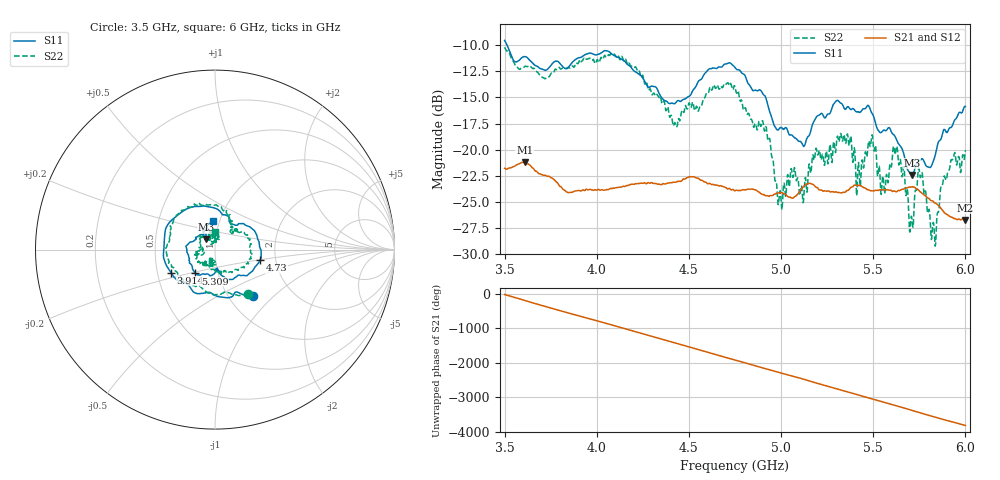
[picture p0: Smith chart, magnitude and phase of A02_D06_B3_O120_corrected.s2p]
! Created with skrf 1.9.0 (http://scikit-rf.org).
# Hz S RI R 50.0
!freq ReS11 ImS11 ReS21 ImS21 ReS12 ImS12 ReS22 ImS22
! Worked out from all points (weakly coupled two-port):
!   1601 points, 3.5 GHz to 6 GHz, reference 50 ohm
!   highest |S21| = -21.20 dB at 3.609 GHz (marker M1); lowest = -26.7 dB at 5.997 GHz (marker M2)
!   lowest |S11| = -22.4 dB at 5.711 GHz (marker M3), VSWR 1.16, Z = 44.9 + j5.12 ohm
!   |S11| at or under -10 dB: 3.514 GHz to end of sweep
!   |S22| runs from -29.2 to -10.2 dB; largest |S21 - S12| = 0.00096
!   S11 on the Smith chart (normalised r, x): 3.5 GHz: 1.28, -0.75; 3.914 GHz: 0.59, -0.16; 4.73 GHz: 1.65, -0.21; 5.309 GHz: 0.78, -0.21; 6 GHz: 0.93, +0.31
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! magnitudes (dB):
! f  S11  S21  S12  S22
! 3.5 GHz  -9.5  -21.8  -21.8  -10.2
! 3.609 GHz  -11.1  -21.2  -21.2  -12.0
! 3.914 GHz  -11.1  -23.9  -23.9  -11.5
! 3.917 GHz  -11.1  -23.9  -23.9  -11.5
! 4.334 GHz  -14.5  -23.3  -23.2  -14.9
! 4.425 GHz  -15.6  -23.1  -23.1  -17.4
! 4.73 GHz  -11.8  -23.8  -23.8  -13.8
! 4.75 GHz  -12.1  -23.9  -23.8  -14.0
! 4.911 GHz  -14.8  -24.4  -24.3  -18.2
! 4.994 GHz  -17.9  -24.1  -24.1  -24.0
! 5.167 GHz  -17.8  -23.3  -23.2  -21.2
! 5.309 GHz  -15.3  -24.1  -24.0  -18.9
! 5.419 GHz  -16.4  -23.4  -23.4  -21.3
! 5.486 GHz  -16.3  -23.9  -23.9  -19.6
! 5.584 GHz  -17.9  -23.9  -23.8  -22.6
! 5.622 GHz  -18.9  -24.0  -24.0  -20.2
! 5.711 GHz  -22.4  -23.5  -23.5  -26.8
! 5.755 GHz  -21.0  -24.0  -24.0  -22.6
! 5.828 GHz  -21.0  -25.0  -25.0  -27.1
! 5.878 GHz  -18.3  -25.8  -25.8  -23.1
! 5.997 GHz  -15.8  -26.7  -26.6  -20.6
! 6 GHz  -15.9  -26.7  -26.6  -20.0
